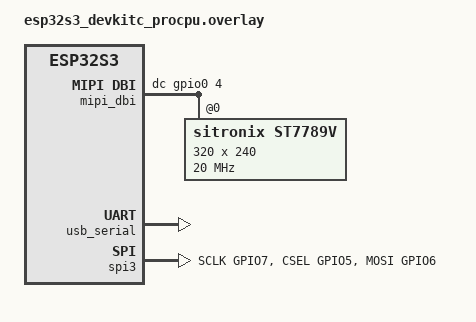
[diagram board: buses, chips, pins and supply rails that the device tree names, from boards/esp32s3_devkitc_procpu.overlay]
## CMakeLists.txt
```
cmake_minimum_required(VERSION 3.20.0)
find_package(Zephyr REQUIRED HINTS $ENV{ZEPHYR_BASE})
project(lcd_ui_test)
target_sources(app PRIVATE src/main.c)
```

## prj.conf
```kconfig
# Console
CONFIG_PRINTK=y
CONFIG_CONSOLE=y
CONFIG_UART_CONSOLE=y
CONFIG_SERIAL=y

# GPIO (backlight + button)
CONFIG_GPIO=y

# SPI + Display
CONFIG_SPI=y
CONFIG_DISPLAY=y
CONFIG_MIPI_DBI=y

# LVGL
CONFIG_LVGL=y
CONFIG_LV_Z_MEM_POOL_SIZE=16384
CONFIG_LV_USE_LOG=y
CONFIG_LV_USE_LABEL=y
CONFIG_LV_USE_BUTTON=y
CONFIG_LV_FONT_MONTSERRAT_14=y
CONFIG_LV_FONT_MONTSERRAT_18=y
CONFIG_LV_COLOR_DEPTH_16=y
CONFIG_LV_COLOR_16_SWAP=y
CONFIG_LV_Z_VDB_SIZE=10
CONFIG_LV_Z_BUFFER_ALLOC_STATIC=y

# Stack
CONFIG_MAIN_STACK_SIZE=4096

# Logging
CONFIG_LOG=y
```

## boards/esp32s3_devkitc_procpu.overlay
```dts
/* CHD-ESP32-S3-BOX: LVGL UI Test on ST7789V 2.8" 320x240 */

#include <zephyr/dt-bindings/pinctrl/esp-pinctrl-common.h>
#include <dt-bindings/pinctrl/esp32s3-pinctrl.h>
#include <zephyr/dt-bindings/pinctrl/esp32s3-gpio-sigmap.h>
#include <zephyr/dt-bindings/mipi_dbi/mipi_dbi.h>

/ {
	chosen {
		zephyr,console = &usb_serial;
		zephyr,shell-uart = &usb_serial;
		zephyr,display = &st7789v;
	};

	mipi_dbi {
		compatible = "zephyr,mipi-dbi-spi";
		dc-gpios = <&gpio0 4 GPIO_ACTIVE_HIGH>;
		spi-dev = <&spi3>;
		write-only;
		#address-cells = <1>;
		#size-cells = <0>;

		st7789v: st7789v@0 {
			compatible = "sitronix,st7789v";
			mipi-max-frequency = <20000000>;
			reg = <0>;
			width = <320>;
			height = <240>;
			x-offset = <0>;
			y-offset = <0>;
			vcom = <0x19>;
			gctrl = <0x35>;
			vrhs = <0x12>;
			vdvs = <0x20>;
			mdac = <0x60>;
			gamma = <0x01>;
			colmod = <0x55>;
			lcm = <0x2c>;
			porch-param = [0c 0c 00 33 33];
			cmd2en-param = [5a 69 02 01];
			pwctrl1-param = [a4 a1];
			pvgam-param = [D0 04 0D 11 13 2B 3F 54 4C 18 0D 0B 1F 23];
			nvgam-param = [D0 04 0C 11 13 2C 3F 44 51 2F 1F 1F 20 23];
			ram-param = [00 F0];
			rgb-param = [CD 08 14];
			mipi-mode = "MIPI_DBI_MODE_SPI_4WIRE";
		};
	};
};

&usb_serial {
	status = "okay";
};

&pinctrl {
	spim3_default: spim3_default {
		group1 {
			pinmux = <SPIM3_SCLK_GPIO7>,
				 <SPIM3_CSEL_GPIO5>;
		};
		group2 {
			pinmux = <SPIM3_MOSI_GPIO6>;
			output-low;
		};
	};
};

&spi3 {
	#address-cells = <1>;
	#size-cells = <0>;
	status = "okay";
	pinctrl-0 = <&spim3_default>;
	pinctrl-names = "default";
};
```

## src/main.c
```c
/*
 * CHD-ESP32-S3-BOX: LVGL Multi-Button UI Test
 * Step 4.4 — Buttons with event callbacks
 */

#include <zephyr/kernel.h>
#include <zephyr/device.h>
#include <zephyr/devicetree.h>
#include <zephyr/drivers/display.h>
#include <zephyr/drivers/gpio.h>
#include <lvgl.h>

/* Backlight: IO47 = GPIO1 pin 15 */
#define BLK_NODE DT_NODELABEL(gpio1)
#define BLK_PIN  15

static lv_obj_t *status_label;
static int counter = 0;
static const lv_color_t bg_colors[] = {
	LV_COLOR_MAKE(0x00, 0x00, 0x00),  /* Black */
	LV_COLOR_MAKE(0x00, 0x00, 0x80),  /* Dark Blue */
	LV_COLOR_MAKE(0x00, 0x80, 0x00),  /* Dark Green */
	LV_COLOR_MAKE(0x80, 0x00, 0x00),  /* Dark Red */
	LV_COLOR_MAKE(0x40, 0x40, 0x40),  /* Dark Gray */
};
static int bg_index = 0;

static void btn_counter_cb(lv_event_t *e)
{
	counter++;
	char buf[32];
	snprintf(buf, sizeof(buf), "Count: %d", counter);
	lv_label_set_text(status_label, buf);
	printk("Button: Counter = %d\n", counter);
}

static void btn_reset_cb(lv_event_t *e)
{
	counter = 0;
	lv_label_set_text(status_label, "Count: 0");
	printk("Button: Counter reset\n");
}

static void btn_color_cb(lv_event_t *e)
{
	bg_index = (bg_index + 1) % (sizeof(bg_colors) / sizeof(bg_colors[0]));
	lv_obj_set_style_bg_color(lv_screen_active(), bg_colors[bg_index], 0);
	printk("Button: BG color index = %d\n", bg_index);
}

static lv_obj_t *create_button(lv_obj_t *parent, const char *text,
			       lv_coord_t x, lv_coord_t y,
			       lv_coord_t w, lv_coord_t h,
			       lv_event_cb_t cb)
{
	lv_obj_t *btn = lv_button_create(parent);
	lv_obj_set_size(btn, w, h);
	lv_obj_align(btn, LV_ALIGN_CENTER, x, y);
	lv_obj_add_event_cb(btn, cb, LV_EVENT_CLICKED, NULL);

	lv_obj_t *label = lv_label_create(btn);
	lv_label_set_text(label, text);
	lv_obj_center(label);

	return btn;
}

int main(void)
{
	const struct device *display_dev;
	const struct device *gpio1_dev;

	printk("=== LVGL UI Test ===\n");

	/* Backlight ON */
	gpio1_dev = DEVICE_DT_GET(BLK_NODE);
	if (device_is_ready(gpio1_dev)) {
		gpio_pin_configure(gpio1_dev, BLK_PIN, GPIO_OUTPUT_ACTIVE);
		gpio_pin_set(gpio1_dev, BLK_PIN, 1);
	}

	/* Get display device */
	display_dev = DEVICE_DT_GET(DT_CHOSEN(zephyr_display));
	if (!device_is_ready(display_dev)) {
		printk("ERROR: Display device not ready\n");
		return 0;
	}

	/* Set dark background */
	lv_obj_set_style_bg_color(lv_screen_active(), lv_color_black(), 0);

	/* Title */
	lv_obj_t *title = lv_label_create(lv_screen_active());
	lv_label_set_text(title, "CHD-ESP32-S3-BOX");
	lv_obj_set_style_text_font(title, &lv_font_montserrat_18, 0);
	lv_obj_set_style_text_color(title, lv_color_white(), 0);
	lv_obj_align(title, LV_ALIGN_TOP_MID, 0, 10);

	/* Status label */
	status_label = lv_label_create(lv_screen_active());
	lv_label_set_text(status_label, "Count: 0");
	lv_obj_set_style_text_color(status_label, lv_color_hex(0x00FF00), 0);
	lv_obj_set_style_text_font(status_label, &lv_font_montserrat_18, 0);
	lv_obj_align(status_label, LV_ALIGN_CENTER, 0, -30);

	/* Buttons row */
	create_button(lv_screen_active(), "+1", -100, 40, 80, 50, btn_counter_cb);
	create_button(lv_screen_active(), "Reset", 0, 40, 80, 50, btn_reset_cb);
	create_button(lv_screen_active(), "Color", 100, 40, 80, 50, btn_color_cb);

	/* First render + turn on display */
	lv_timer_handler();
	display_blanking_off(display_dev);

	printk("UI ready. Buttons: +1, Reset, Color\n");

	while (1) {
		lv_timer_handler();
		k_sleep(K_MSEC(10));
	}
}
```
